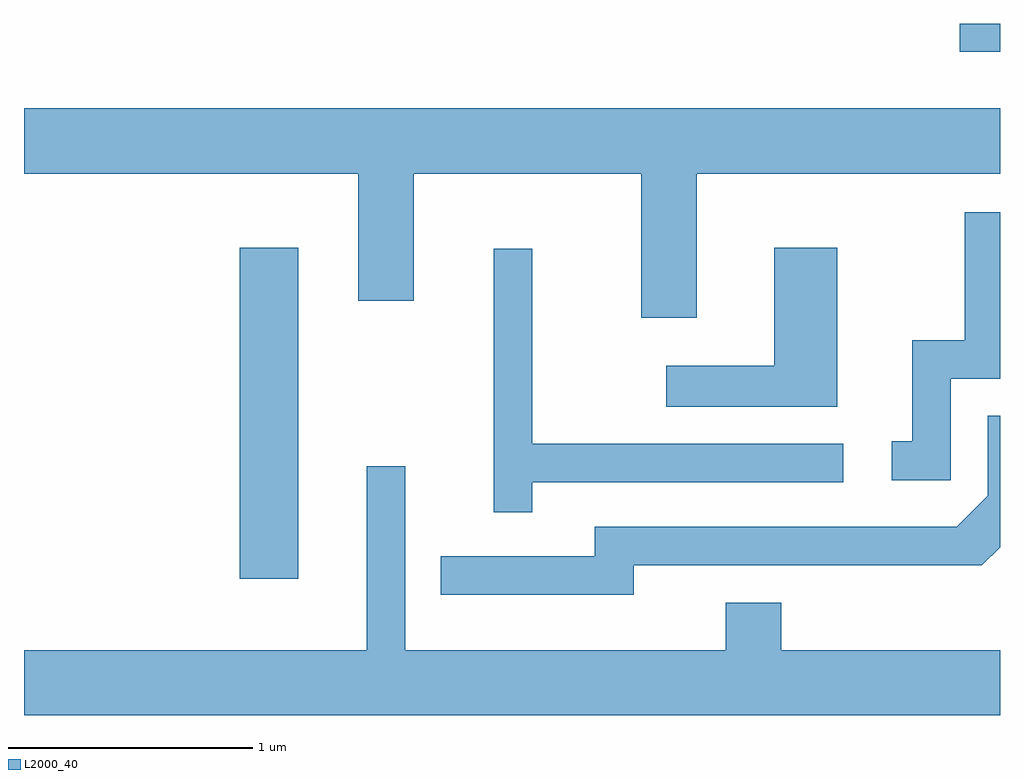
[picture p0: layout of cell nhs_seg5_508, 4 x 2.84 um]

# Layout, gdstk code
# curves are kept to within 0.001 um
import gdstk
lib = gdstk.Library(unit=1e-6, precision=1e-09)
def R(c, l, rs):  # rectangles x0, y0, x1, y1
    for r in rs: c.add(gdstk.rectangle(r[:2], r[2:], *l))
def P(c, l, *ps):  # polygons
    for p in ps: c.add(gdstk.Polygon(p, *l))
L2000_40 = (2000, 40)

nhs_seg5_508 = lib.new_cell('nhs_seg5_508')
R(nhs_seg5_508, L2000_40, [(200.496,1461.796,200.734,1463.154), (203.446,1463.956,203.611,1464.072)])
P(nhs_seg5_508, L2000_40, [(202.369,1463.456),(203.611,1463.456),(203.611,1463.724),(199.611,1463.724),(199.611,1463.456),(200.981,1463.456),(200.981,1462.936),(201.209,1462.936),(201.209,1463.456),(202.141,1463.456),(202.141,1462.866),(202.369,1462.866)],
  [(203.409,1462.616),(203.611,1462.616),(203.611,1463.299),(203.466,1463.299),(203.466,1462.774),(203.251,1462.774),(203.251,1462.359),(203.168,1462.359),(203.168,1462.201),(203.409,1462.201)],
  [(202.944,1463.154),(202.686,1463.154),(202.686,1462.669),(202.243,1462.669),(202.243,1462.501),(202.944,1462.501)],
  [(201.694,1462.191),(202.968,1462.191),(202.968,1462.349),(201.694,1462.349),(201.694,1463.148),(201.536,1463.148),(201.536,1462.068),(201.694,1462.068)],
  [(202.109,1461.851),(203.537,1461.851),(203.611,1461.925),(203.611,1462.464),(203.561,1462.464),(203.561,1462.137),(203.434,1462.009),(201.951,1462.009),(201.951,1461.889),(201.318,1461.889),(201.318,1461.731),(202.109,1461.731)],
  [(201.016,1462.258),(201.016,1461.504),(199.611,1461.504),(199.611,1461.236),(203.611,1461.236),(203.611,1461.504),(202.714,1461.504),(202.714,1461.699),(202.486,1461.699),(202.486,1461.504),(201.174,1461.504),(201.174,1462.258)])

lib.write_gds('nhs_seg5_508.gds')
